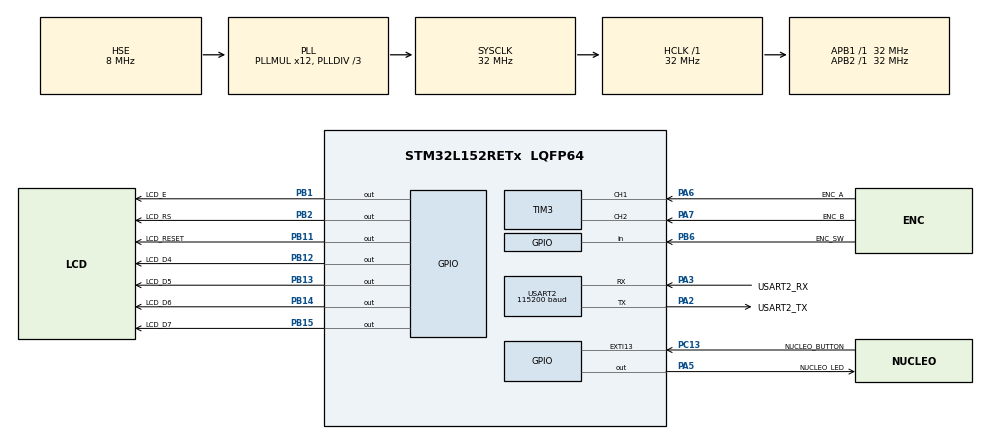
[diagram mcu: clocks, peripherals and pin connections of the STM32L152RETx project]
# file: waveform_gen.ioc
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FREERTOS.HEAP_NUMBER=4
FREERTOS.INCLUDE_pcTaskGetTaskName=1
FREERTOS.INCLUDE_uxTaskGetStackHighWaterMark=1
FREERTOS.INCLUDE_vTaskDelayUntil=1
FREERTOS.INCLUDE_xTaskGetCurrentTaskHandle=1
FREERTOS.MEMORY_ALLOCATION=2
FREERTOS.Tasks01=defaultTask,0,128,StartDefaultTask,Default,NULL,Dynamic,NULL,NULL
FREERTOS.configCHECK_FOR_STACK_OVERFLOW=2
FREERTOS.configGENERATE_RUN_TIME_STATS=1
FREERTOS.configRECORD_STACK_HIGH_ADDRESS=1
FREERTOS.configTICK_RATE_HZ=100
FREERTOS.configTIMER_TASK_STACK_DEPTH=128
FREERTOS.configTOTAL_HEAP_SIZE=40960
FREERTOS.configUSE_COUNTING_SEMAPHORES=1
FREERTOS.configUSE_NEWLIB_REENTRANT=1
FREERTOS.configUSE_STATS_FORMATTING_FUNCTIONS=1
FREERTOS.configUSE_TIMERS=1
FREERTOS.configUSE_TRACE_FACILITY=1
Mcu.Family=STM32L1
Mcu.Name=STM32L152RETx
Mcu.Package=LQFP64
NVIC.PriorityGroup=NVIC_PRIORITYGROUP_4
NVIC.TIM10_IRQn=true\:5\:0\:false\:false\:true\:true\:true\:true\:true
NVIC.TIM5_IRQn=true\:0\:0\:true\:false\:true\:false\:false\:true\:true
NVIC.TIM6_IRQn=true\:5\:0\:false\:false\:true\:true\:true\:true\:true
NVIC.TimeBase=TIM5_IRQn
NVIC.TimeBaseIP=TIM5
NVIC.USART2_IRQn=true\:10\:0\:true\:false\:true\:true\:true\:true\:true
PA13.GPIO_Label=TMS
PA13.Mode=Serial_Wire
PA13.Signal=SYS_JTMS-SWDIO
PA14.GPIO_Label=TCK
PA14.Mode=Serial_Wire
PA14.Signal=SYS_JTCK-SWCLK
PA2.GPIO_Label=USART2_TX
PA2.Mode=Asynchronous
PA2.Signal=USART2_TX
PA3.GPIO_Label=USART2_RX
PA3.Mode=Asynchronous
PA3.Signal=USART2_RX
PA5.GPIO_Label=NUCLEO_LED
PA5.Signal=GPIO_Output
PA6.GPIO_Label=ENC_A
PA6.Signal=S_TIM3_CH1
PA7.GPIO_Label=ENC_B
PA7.Signal=S_TIM3_CH2
PB1.GPIO_Label=LCD_E
PB1.GPIO_Speed=GPIO_SPEED_FREQ_MEDIUM
PB1.Signal=GPIO_Output
PB11.GPIO_Label=LCD_RESET
PB11.Signal=GPIO_Output
PB12.GPIO_Label=LCD_D4
PB12.GPIO_Speed=GPIO_SPEED_FREQ_MEDIUM
PB12.Signal=GPIO_Output
PB13.GPIO_Label=LCD_D5
PB13.GPIO_Speed=GPIO_SPEED_FREQ_MEDIUM
PB13.Signal=GPIO_Output
PB14.GPIO_Label=LCD_D6
PB14.GPIO_Speed=GPIO_SPEED_FREQ_MEDIUM
PB14.Signal=GPIO_Output
PB15.GPIO_Label=LCD_D7
PB15.GPIO_Speed=GPIO_SPEED_FREQ_MEDIUM
PB15.Signal=GPIO_Output
PB2.GPIO_Label=LCD_RS
PB2.GPIO_Speed=GPIO_SPEED_FREQ_MEDIUM
PB2.Signal=GPIO_Output
PB3.GPIO_Label=SWO
PB3.Signal=SYS_JTDO-TRACESWO
PB6.GPIO_Label=ENC_SW
PB6.Signal=GPIO_Input
PC13-WKUP2.GPIO_Label=NUCLEO_BUTTON
PC13-WKUP2.Signal=GPXTI13
PC14-OSC32_IN.Mode=LSE-External-Oscillator
PC14-OSC32_IN.Signal=RCC_OSC32_IN
PC15-OSC32_OUT.Mode=LSE-External-Oscillator
PC15-OSC32_OUT.Signal=RCC_OSC32_OUT
PH0-OSC_IN.Mode=HSE-External-Clock-Source
PH0-OSC_IN.Signal=RCC_OSC_IN
PH1-OSC_OUT.Signal=RCC_OSC_OUT
ProjectManager.HeapSize=0x200
ProjectManager.StackSize=0x400
ProjectManager.TargetToolchain=STM32CubeIDE
RCC.48MHZClocksFreq_Value=48000000
RCC.AHBFreq_Value=32000000
RCC.APB1Freq_Value=32000000
RCC.APB1TimFreq_Value=32000000
RCC.APB2Freq_Value=32000000
RCC.APB2TimFreq_Value=32000000
RCC.EnbaleCSS=true
RCC.HCLKFreq_Value=32000000
RCC.HSE_VALUE=8000000
RCC.HSI_VALUE=16000000
RCC.MSI_VALUE=2097000
RCC.PLLDIV=RCC_PLL_DIV3
RCC.PLLMUL=RCC_PLL_MUL12
RCC.PLLSourceVirtual=RCC_PLLSOURCE_HSE
RCC.RTCClockSelectionVirtual=RCC_RTCCLKSOURCE_LSE
RCC.SYSCLKFreq_VALUE=32000000
RCC.SYSCLKSource=RCC_SYSCLKSOURCE_PLLCLK
RCC.USBOutput=48000000
RCC.VCOOutputFreq_Value=96000000
SH.S_TIM3_CH1.0=TIM3_CH1,Encoder_Interface
SH.S_TIM3_CH2.0=TIM3_CH2,Encoder_Interface
TIM10.Period=80
TIM10.Prescaler=31
TIM3.EncoderMode=TIM_ENCODERMODE_TI12
TIM3.IC1Filter=15
TIM3.IC2Filter=15
TIM6.Prescaler=3199
USART2.BaudRate=115200
USART2.VirtualMode=VM_ASYNC
USART2.WordLength=WORDLENGTH_8B
VP_FREERTOS_VS_CMSIS_V1.Mode=CMSIS_V1
VP_SYS_VS_tim5.Mode=TIM5
VP_TIM10_VS_ClockSourceINT.Mode=Internal
VP_TIM6_VS_ClockSourceINT.Mode=Enable_Timer
board=NUCLEO-L152RE

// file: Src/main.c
/* USER CODE BEGIN Header */
/**
  ******************************************************************************
  * @file           : main.c
  * @brief          : Main program body
  ******************************************************************************
  * @attention
  *
  * Copyright (c) 2023 STMicroelectronics.
  * All rights reserved.
  *
  * This software is licensed under terms that can be found in the LICENSE file
  * in the root directory of this software component.
  * If no LICENSE file comes with this software, it is provided AS-IS.
  *
  ******************************************************************************
  */
/* USER CODE END Header */
#include "main.h"
#include "cmsis_os.h"
#include "tim.h"
#include "usart.h"
#include "gpio.h"

/* USER CODE BEGIN Includes */
#include "logging.h"
#include "encoder.h"
#include "screen/lcd.h"
#include "screen/menu/menu_elements.h"
#include "serial_receiver.h"

#include "Program/cprogram.h"

/* USER CODE END Includes */

void SystemClock_Config(void);
void MX_FREERTOS_Init(void);

int main(void)
{

  /* MCU Configuration--------------------------------------------------------*/

  /* Reset of all peripherals, Initializes the Flash interface and the Systick. */
  HAL_Init();

  /* USER CODE BEGIN Init */
  Menu_InitializeElements();

  /* USER CODE END Init */

  /* Configure the system clock */
  SystemClock_Config();

  /* Initialize all configured peripherals */
  MX_GPIO_Init();
  MX_USART2_UART_Init();
  MX_TIM6_Init();
  MX_TIM3_Init();
  MX_TIM10_Init();
  /* USER CODE BEGIN 2 */
  HAL_TIM_Base_Start_IT(&htim6);
  HAL_TIM_Encoder_Start(&htim3, TIM_CHANNEL_ALL);

  Setup_Logging_CreateTask();
  Setup_Encoder_CreateTask();
  Setup_Lcd_CreateTask();
  Setup_SerialReceiver_CreateTask();

  Program_CreateTasks();

  /* USER CODE END 2 */

  /* Call init function for freertos objects (in freertos.c) */
  MX_FREERTOS_Init();

  /* Start scheduler */
  osKernelStart();

  /* We should never get here as control is now taken by the scheduler */
  /* Infinite loop */
  while (1)
  {

  }
}

void SystemClock_Config(void)
{
  RCC_OscInitTypeDef RCC_OscInitStruct = {0};
  RCC_ClkInitTypeDef RCC_ClkInitStruct = {0};

  /** Configure the main internal regulator output voltage
  */
  __HAL_PWR_VOLTAGESCALING_CONFIG(PWR_REGULATOR_VOLTAGE_SCALE1);

  /** Initializes the RCC Oscillators according to the specified parameters
  * in the RCC_OscInitTypeDef structure.
  */
  RCC_OscInitStruct.OscillatorType = RCC_OSCILLATORTYPE_HSE;
  RCC_OscInitStruct.HSEState = RCC_HSE_BYPASS;
  RCC_OscInitStruct.PLL.PLLState = RCC_PLL_ON;
  RCC_OscInitStruct.PLL.PLLSource = RCC_PLLSOURCE_HSE;
  RCC_OscInitStruct.PLL.PLLMUL = RCC_PLL_MUL12;
  RCC_OscInitStruct.PLL.PLLDIV = RCC_PLL_DIV3;
  if (HAL_RCC_OscConfig(&RCC_OscInitStruct) != HAL_OK)
  {
    Error_Handler();
  }

  /** Initializes the CPU, AHB and APB buses clocks
  */
  RCC_ClkInitStruct.ClockType = RCC_CLOCKTYPE_HCLK|RCC_CLOCKTYPE_SYSCLK
                              |RCC_CLOCKTYPE_PCLK1|RCC_CLOCKTYPE_PCLK2;
  RCC_ClkInitStruct.SYSCLKSource = RCC_SYSCLKSOURCE_PLLCLK;
  RCC_ClkInitStruct.AHBCLKDivider = RCC_SYSCLK_DIV1;
  RCC_ClkInitStruct.APB1CLKDivider = RCC_HCLK_DIV1;
  RCC_ClkInitStruct.APB2CLKDivider = RCC_HCLK_DIV1;

  if (HAL_RCC_ClockConfig(&RCC_ClkInitStruct, FLASH_LATENCY_1) != HAL_OK)
  {
    Error_Handler();
  }

  /** Enables the Clock Security System
  */
  HAL_RCC_EnableCSS();
}

void HAL_TIM_PeriodElapsedCallback(TIM_HandleTypeDef *htim)
{
  if (htim->Instance == TIM5) {
    HAL_IncTick();
  }
  /* USER CODE BEGIN Callback 1 */
  else if (htim->Instance == TIM6) {
	  tim6updateCnt++;
  }

  /* USER CODE END Callback 1 */
}

void Error_Handler(void)
{
  __disable_irq();
  while (1)
  {
  }
}

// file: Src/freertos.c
/* USER CODE BEGIN Header */
/**
  ******************************************************************************
  * File Name          : freertos.c
  * Description        : Code for freertos applications
  ******************************************************************************
  * @attention
  *
  * Copyright (c) 2023 STMicroelectronics.
  * All rights reserved.
  *
  * This software is licensed under terms that can be found in the LICENSE file
  * in the root directory of this software component.
  * If no LICENSE file comes with this software, it is provided AS-IS.
  *
  ******************************************************************************
  */
/* USER CODE END Header */

#include "FreeRTOS.h"
#include "task.h"
#include "main.h"
#include "cmsis_os.h"

/* USER CODE BEGIN Includes */
#include <tim.h>
#include "logging.h"
/* USER CODE END Includes */

osThreadId defaultTaskHandle;

void StartDefaultTask(void const * argument);

void MX_FREERTOS_Init(void); /* (MISRA C 2004 rule 8.1) */

/* GetIdleTaskMemory prototype (linked to static allocation support) */
void vApplicationGetIdleTaskMemory( StaticTask_t **ppxIdleTaskTCBBuffer, StackType_t **ppxIdleTaskStackBuffer, uint32_t *pulIdleTaskStackSize );

/* GetTimerTaskMemory prototype (linked to static allocation support) */
void vApplicationGetTimerTaskMemory( StaticTask_t **ppxTimerTaskTCBBuffer, StackType_t **ppxTimerTaskStackBuffer, uint32_t *pulTimerTaskStackSize );

/* Hook prototypes */
void configureTimerForRunTimeStats(void);
unsigned long getRunTimeCounterValue(void);
void vApplicationStackOverflowHook(xTaskHandle xTask, signed char *pcTaskName);

/* USER CODE BEGIN 1 */
/* Functions needed when configGENERATE_RUN_TIME_STATS is on */
__weak void configureTimerForRunTimeStats(void)
{
	htim6.Instance->CNT = 0;
	tim6updateCnt = 0;
}

__weak unsigned long getRunTimeCounterValue(void)
{
	return htim6.Instance->CNT + 0xFFFF * tim6updateCnt;
}
/* USER CODE END 1 */

/* USER CODE BEGIN 4 */
__weak void vApplicationStackOverflowHook(xTaskHandle xTask, signed char *pcTaskName)
{
   /* Run time stack overflow checking is performed if
   configCHECK_FOR_STACK_OVERFLOW is defined to 1 or 2. This hook function is
   called if a stack overflow is detected. */
	Logging_LogBlocking("Stack overflow! Task: ");
	Logging_LogBlocking((char *)pcTaskName);
	Logging_LogBlocking("\r\n");
}
/* USER CODE END 4 */

/* USER CODE BEGIN GET_IDLE_TASK_MEMORY */
static StaticTask_t xIdleTaskTCBBuffer;
static StackType_t xIdleStack[configMINIMAL_STACK_SIZE];

void vApplicationGetIdleTaskMemory( StaticTask_t **ppxIdleTaskTCBBuffer, StackType_t **ppxIdleTaskStackBuffer, uint32_t *pulIdleTaskStackSize )
{
  *ppxIdleTaskTCBBuffer = &xIdleTaskTCBBuffer;
  *ppxIdleTaskStackBuffer = &xIdleStack[0];
  *pulIdleTaskStackSize = configMINIMAL_STACK_SIZE;
  /* place for user code */
}
/* USER CODE END GET_IDLE_TASK_MEMORY */

/* USER CODE BEGIN GET_TIMER_TASK_MEMORY */
static StaticTask_t xTimerTaskTCBBuffer;
static StackType_t xTimerStack[configTIMER_TASK_STACK_DEPTH];

void vApplicationGetTimerTaskMemory( StaticTask_t **ppxTimerTaskTCBBuffer, StackType_t **ppxTimerTaskStackBuffer, uint32_t *pulTimerTaskStackSize )
{
  *ppxTimerTaskTCBBuffer = &xTimerTaskTCBBuffer;
  *ppxTimerTaskStackBuffer = &xTimerStack[0];
  *pulTimerTaskStackSize = configTIMER_TASK_STACK_DEPTH;
  /* place for user code */
}
/* USER CODE END GET_TIMER_TASK_MEMORY */

void MX_FREERTOS_Init(void) {

  /* Create the thread(s) */
  /* definition and creation of defaultTask */
  osThreadDef(defaultTask, StartDefaultTask, osPriorityNormal, 0, 128);
  defaultTaskHandle = osThreadCreate(osThread(defaultTask), NULL);

}

void StartDefaultTask(void const * argument)
{
  for(;;)
  {
    osDelay(1);
  }
}
